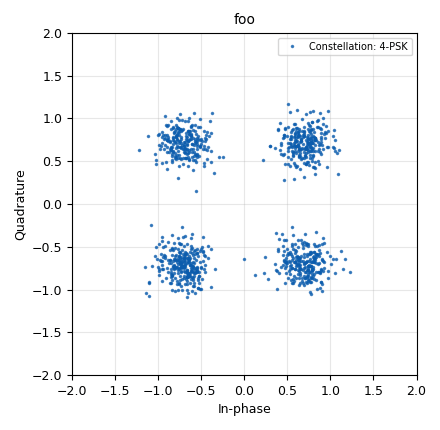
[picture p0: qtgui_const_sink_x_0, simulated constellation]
<?xml version='1.0' encoding='utf-8'?>
<?grc format='1' created='3.7.9'?>
<flow_graph>
<block>
<key>options</key>
<param><key>id</key><value>ber_simulation</value></param>
<param><key>author</key><value>Example</value></param>
<param><key>category</key><value>Custom</value></param>
<param><key>description</key><value>Adjust the noise and constellation... see what happens!</value></param>
<param><key>generate_options</key><value>qt_gui</value></param>
<param><key>title</key><value>BER Simulation</value></param>
</block>
<block>
<key>variable_qtgui_range</key>
<param><key>id</key><value>EbN0</value></param>
<param><key>value</key><value>10</value></param>
<param><key>label</key><value>Eb / N0 (dB)</value></param>
<param><key>orient</key><value>Qt.Horizontal</value></param>
<param><key>start</key><value>-10</value></param>
<param><key>step</key><value>1</value></param>
<param><key>stop</key><value>200</value></param>
</block>
<block>
<key>variable</key>
<param><key>id</key><value>const</value></param>
<param><key>value</key><value>(digital.constellation_bpsk(), digital.constellation_qpsk(), digital.constellation_8psk())</value></param>
</block>
<block>
<key>variable</key>
<param><key>id</key><value>const_type</value></param>
<param><key>value</key><value>1</value></param>
</block>
<block>
<key>variable</key>
<param><key>id</key><value>eb</value></param>
<param><key>value</key><value>0.35</value></param>
</block>
<block>
<key>variable</key>
<param><key>id</key><value>rrc_taps</value></param>
<param><key>value</key><value>firdes.root_raised_cosine(20, 10, 1.0/float(sps), eb, 45*sps)</value></param>
</block>
<block>
<key>variable</key>
<param><key>id</key><value>samp_rate</value></param>
<param><key>value</key><value>500e3</value></param>
</block>
<block>
<key>variable</key>
<param><key>id</key><value>sps</value></param>
<param><key>value</key><value>2</value></param>
</block>
<block>
<key>variable_qtgui_label</key>
<param><key>id</key><value>variable_qtgui_label_0</value></param>
<param><key>value</key><value>{0: 'BPSK', 1: 'QPSK', 2: '8-PSK'}[const_type] + " - Change const_type for different constellation types!"</value></param>
<param><key>label</key><value>Constellation Type</value></param>
<param><key>type</key><value>string</value></param>
</block>
<block>
<key>analog_noise_source_x</key>
<param><key>id</key><value>analog_noise_source_x</value></param>
<param><key>amp</key><value>1.0 / math.sqrt(const[const_type].bits_per_symbol() * 10**(EbN0/10))</value></param>
<param><key>noise_type</key><value>analog.GR_GAUSSIAN</value></param>
<param><key>type</key><value>complex</value></param>
<param><key>seed</key><value>42</value></param>
</block>
<block>
<key>analog_random_source_x</key>
<param><key>id</key><value>analog_random_source_x</value></param>
<param><key>max</key><value>const[const_type].arity()</value></param>
<param><key>min</key><value>0</value></param>
<param><key>num_samps</key><value>int(1e7)</value></param>
<param><key>type</key><value>byte</value></param>
<param><key>repeat</key><value>True</value></param>
</block>
<block>
<key>blks2_error_rate</key>
<param><key>id</key><value>blks2_error_rate</value></param>
<param><key>bits_per_symbol</key><value>const[const_type].bits_per_symbol()</value></param>
<param><key>type</key><value>'BER'</value></param>
<param><key>win_size</key><value>int(1e7)</value></param>
</block>
<block>
<key>blocks_add_xx</key>
<param><key>id</key><value>blocks_add_xx</value></param>
<param><key>type</key><value>complex</value></param>
</block>
<block>
<key>blocks_throttle</key>
<param><key>id</key><value>blocks_throttle</value></param>
<param><key>samples_per_second</key><value>samp_rate</value></param>
<param><key>type</key><value>byte</value></param>
</block>
<block>
<key>digital_chunks_to_symbols_xx</key>
<param><key>id</key><value>digital_chunks_to_symbols_xx</value></param>
<param><key>dimension</key><value>1</value></param>
<param><key>in_type</key><value>byte</value></param>
<param><key>out_type</key><value>complex</value></param>
<param><key>symbol_table</key><value>const[const_type].points()</value></param>
</block>
<block>
<key>digital_constellation_decoder_cb</key>
<param><key>id</key><value>digital_constellation_decoder_cb_0</value></param>
<param><key>constellation</key><value>const[const_type].base()</value></param>
</block>
<block>
<key>digital_pfb_clock_sync_xxx</key>
<param><key>id</key><value>digital_pfb_clock_sync_xxx_0</value></param>
<param><key>_enabled</key><value>0</value></param>
<param><key>filter_size</key><value>32</value></param>
<param><key>init_phase</key><value>0</value></param>
<param><key>loop_bw</key><value>6.28/100.0</value></param>
<param><key>max_dev</key><value>1.5</value></param>
<param><key>osps</key><value>1</value></param>
<param><key>sps</key><value>sps</value></param>
<param><key>taps</key><value>rrc_taps</value></param>
<param><key>type</key><value>ccf</value></param>
</block>
<block>
<key>import</key>
<param><key>id</key><value>import</value></param>
<param><key>import</key><value>import math</value></param>
</block>
<block>
<key>qtgui_const_sink_x</key>
<param><key>id</key><value>qtgui_const_sink_x_0</value></param>
<param><key>gui_hint</key><value>2,0,1,1</value></param>
<param><key>alpha1</key><value>0.6</value></param>
<param><key>label1</key><value>"Constellation: "+str(const[const_type].arity()) + "-PSK"</value></param>
<param><key>name</key><value>"foo"</value></param>
<param><key>size</key><value>1024</value></param>
<param><key>type</key><value>complex</value></param>
</block>
<block>
<key>qtgui_const_sink_x</key>
<param><key>id</key><value>qtgui_const_sink_x_0_0</value></param>
<param><key>_enabled</key><value>0</value></param>
<param><key>label1</key><value>QPSK_mod</value></param>
<param><key>nconnections</key><value>2</value></param>
<param><key>size</key><value>20</value></param>
<param><key>type</key><value>complex</value></param>
</block>
<block>
<key>qtgui_number_sink</key>
<param><key>id</key><value>qtgui_number_sink_0</value></param>
<param><key>autoscale</key><value>True</value></param>
<param><key>gui_hint</key><value>1,0,1,1</value></param>
<param><key>graph_type</key><value>qtgui.NUM_GRAPH_HORIZ</value></param>
<param><key>type</key><value>float</value></param>
<param><key>factor1</key><value>1e6</value></param>
<param><key>label1</key><value>BER</value></param>
<param><key>unit1</key><value>x10^-6</value></param>
<param><key>min</key><value>0</value></param>
</block>
<connection><source_block_id>analog_noise_source_x</source_block_id><sink_block_id>blocks_add_xx</sink_block_id><source_key>0</source_key><sink_key>1</sink_key></connection>
<connection><source_block_id>analog_random_source_x</source_block_id><sink_block_id>blocks_throttle</sink_block_id><source_key>0</source_key><sink_key>0</sink_key></connection>
<connection><source_block_id>analog_random_source_x</source_block_id><sink_block_id>digital_chunks_to_symbols_xx</sink_block_id><source_key>0</source_key><sink_key>0</sink_key></connection>
<connection><source_block_id>blks2_error_rate</source_block_id><sink_block_id>qtgui_number_sink_0</sink_block_id><source_key>0</source_key><sink_key>0</sink_key></connection>
<connection><source_block_id>blocks_add_xx</source_block_id><sink_block_id>digital_constellation_decoder_cb_0</sink_block_id><source_key>0</source_key><sink_key>0</sink_key></connection>
<connection><source_block_id>blocks_add_xx</source_block_id><sink_block_id>digital_pfb_clock_sync_xxx_0</sink_block_id><source_key>0</source_key><sink_key>0</sink_key></connection>
<connection><source_block_id>blocks_add_xx</source_block_id><sink_block_id>qtgui_const_sink_x_0</sink_block_id><source_key>0</source_key><sink_key>0</sink_key></connection>
<connection><source_block_id>blocks_throttle</source_block_id><sink_block_id>blks2_error_rate</sink_block_id><source_key>0</source_key><sink_key>0</sink_key></connection>
<connection><source_block_id>digital_chunks_to_symbols_xx</source_block_id><sink_block_id>blocks_add_xx</sink_block_id><source_key>0</source_key><sink_key>0</sink_key></connection>
<connection><source_block_id>digital_constellation_decoder_cb_0</source_block_id><sink_block_id>blks2_error_rate</sink_block_id><source_key>0</source_key><sink_key>1</sink_key></connection>
<connection><source_block_id>digital_pfb_clock_sync_xxx_0</source_block_id><sink_block_id>qtgui_const_sink_x_0_0</sink_block_id><source_key>0</source_key><sink_key>0</sink_key></connection>
</flow_graph>
